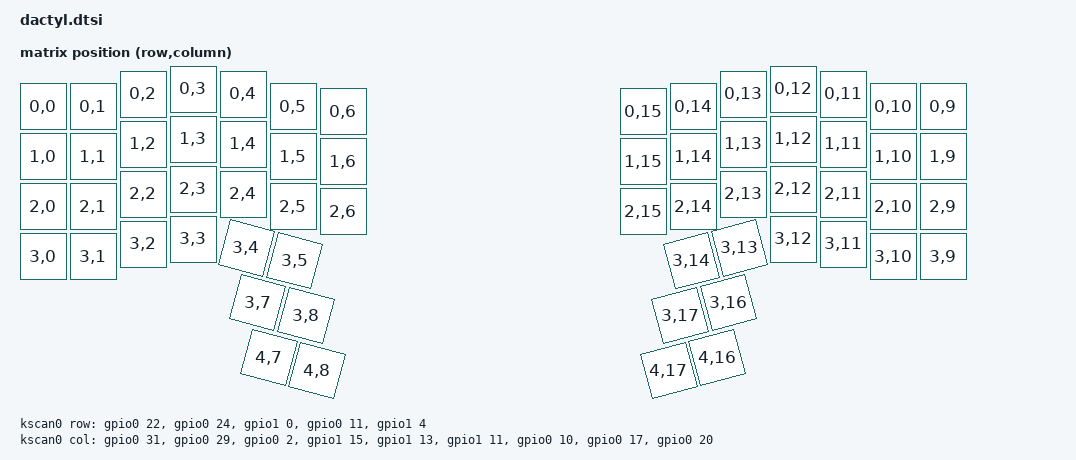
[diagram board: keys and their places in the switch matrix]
#include <dt-bindings/zmk/matrix_transform.h>
#include <physical_layouts.dtsi>
#include <dt-bindings/zmk/mouse.h>


/ {
    chosen {
        zmk,kscan = &kscan0;
        zmk,physical-layout = &dactyl_layout;
    };

    kscan0: kscan {
        compatible = "zmk,kscan-gpio-matrix";
        label = "KSCAN";
        diode-direction = "row2col";

	col-gpios
	= 
	  <&gpio0 31 (GPIO_PULL_DOWN | GPIO_ACTIVE_HIGH)>
	, <&gpio0 29 (GPIO_PULL_DOWN | GPIO_ACTIVE_HIGH)>
	, <&gpio0 2 (GPIO_PULL_DOWN | GPIO_ACTIVE_HIGH)>
	, <&gpio1 15 (GPIO_PULL_DOWN | GPIO_ACTIVE_HIGH)>
	, <&gpio1 13 (GPIO_PULL_DOWN | GPIO_ACTIVE_HIGH)>
	, <&gpio1 11 (GPIO_PULL_DOWN | GPIO_ACTIVE_HIGH)>
	, <&gpio0 10 (GPIO_PULL_DOWN | GPIO_ACTIVE_HIGH)>
	, <&gpio0 17 (GPIO_PULL_DOWN | GPIO_ACTIVE_HIGH)>
	, <&gpio0 20 (GPIO_PULL_DOWN | GPIO_ACTIVE_HIGH)>
    ;

    row-gpios
	= <&gpio0 22 GPIO_ACTIVE_HIGH>
	, <&gpio0 24 GPIO_ACTIVE_HIGH>
	, <&gpio1 0 GPIO_ACTIVE_HIGH>
	, <&gpio0 11 GPIO_ACTIVE_HIGH>
	, <&gpio1 4 GPIO_ACTIVE_HIGH>
    ;
    };

    default_transform: keymap_transform_0 {
        compatible = "zmk,matrix-transform";
        columns = <18>;
        rows = <5>;

        map = <
RC(0,0) RC(0,1) RC(0,2) RC(0,3) RC(0,4) RC(0,5) RC(0,6)     RC(0,15) RC(0,14) RC(0,13) RC(0,12) RC(0,11) RC(0,10) RC(0,9)
RC(1,0) RC(1,1) RC(1,2) RC(1,3) RC(1,4) RC(1,5) RC(1,6)     RC(1,15) RC(1,14) RC(1,13) RC(1,12) RC(1,11) RC(1,10) RC(1,9)
RC(2,0) RC(2,1) RC(2,2) RC(2,3) RC(2,4) RC(2,5) RC(2,6)     RC(2,15) RC(2,14) RC(2,13) RC(2,12) RC(2,11) RC(2,10) RC(2,9)
RC(3,0) RC(3,1) RC(3,2) RC(3,3)                                                        RC(3,12) RC(3,11) RC(3,10) RC(3,9)
                                RC(3,4) RC(3,5)                      RC(3,14) RC(3,13)
                                        RC(3,7) RC(3,8)     RC(3,17) RC(3,16)
                                        RC(4,7) RC(4,8)     RC(4,17) RC(4,16)
        >;
    };

    dactyl_layout: dactyl_layout {
        compatible = "zmk,physical-layout";
        display-name = "Dactyl Mini Plus";
        transform = <&default_transform>;
        kscan = <&kscan0>;

        // Positions are in centi-keyunits (100 = 1u), in the same order as
        // default_transform's map: 3 full finger rows (col 6 is the extra
        // key next to T/G/B), a 4-key bottom finger row, and a 6-key thumb
        // cluster per half as three pairs.
        keys
            // row 0
            = <&key_physical_attrs 100 100     0    35       0     0     0>
            , <&key_physical_attrs 100 100   100    35       0     0     0>
            , <&key_physical_attrs 100 100   200    10       0     0     0>
            , <&key_physical_attrs 100 100   300     0       0     0     0>
            , <&key_physical_attrs 100 100   400    10       0     0     0>
            , <&key_physical_attrs 100 100   500    35       0     0     0>
            , <&key_physical_attrs 100 100   600    45       0     0     0>
            , <&key_physical_attrs 100 100  1200    45       0     0     0>
            , <&key_physical_attrs 100 100  1300    35       0     0     0>
            , <&key_physical_attrs 100 100  1400    10       0     0     0>
            , <&key_physical_attrs 100 100  1500     0       0     0     0>
            , <&key_physical_attrs 100 100  1600    10       0     0     0>
            , <&key_physical_attrs 100 100  1700    35       0     0     0>
            , <&key_physical_attrs 100 100  1800    35       0     0     0>

            // row 1
            , <&key_physical_attrs 100 100     0   135       0     0     0>
            , <&key_physical_attrs 100 100   100   135       0     0     0>
            , <&key_physical_attrs 100 100   200   110       0     0     0>
            , <&key_physical_attrs 100 100   300   100       0     0     0>
            , <&key_physical_attrs 100 100   400   110       0     0     0>
            , <&key_physical_attrs 100 100   500   135       0     0     0>
            , <&key_physical_attrs 100 100   600   145       0     0     0>
            , <&key_physical_attrs 100 100  1200   145       0     0     0>
            , <&key_physical_attrs 100 100  1300   135       0     0     0>
            , <&key_physical_attrs 100 100  1400   110       0     0     0>
            , <&key_physical_attrs 100 100  1500   100       0     0     0>
            , <&key_physical_attrs 100 100  1600   110       0     0     0>
            , <&key_physical_attrs 100 100  1700   135       0     0     0>
            , <&key_physical_attrs 100 100  1800   135       0     0     0>

            // row 2
            , <&key_physical_attrs 100 100     0   235       0     0     0>
            , <&key_physical_attrs 100 100   100   235       0     0     0>
            , <&key_physical_attrs 100 100   200   210       0     0     0>
            , <&key_physical_attrs 100 100   300   200       0     0     0>
            , <&key_physical_attrs 100 100   400   210       0     0     0>
            , <&key_physical_attrs 100 100   500   235       0     0     0>
            , <&key_physical_attrs 100 100   600   245       0     0     0>
            , <&key_physical_attrs 100 100  1200   245       0     0     0>
            , <&key_physical_attrs 100 100  1300   235       0     0     0>
            , <&key_physical_attrs 100 100  1400   210       0     0     0>
            , <&key_physical_attrs 100 100  1500   200       0     0     0>
            , <&key_physical_attrs 100 100  1600   210       0     0     0>
            , <&key_physical_attrs 100 100  1700   235       0     0     0>
            , <&key_physical_attrs 100 100  1800   235       0     0     0>

            // row 3 (fingers)
            , <&key_physical_attrs 100 100     0   335       0     0     0>
            , <&key_physical_attrs 100 100   100   335       0     0     0>
            , <&key_physical_attrs 100 100   200   310       0     0     0>
            , <&key_physical_attrs 100 100   300   300       0     0     0>
            , <&key_physical_attrs 100 100  1500   300       0     0     0>
            , <&key_physical_attrs 100 100  1600   310       0     0     0>
            , <&key_physical_attrs 100 100  1700   335       0     0     0>
            , <&key_physical_attrs 100 100  1800   335       0     0     0>

            // thumb cluster: upper pair
            , <&key_physical_attrs 100 100   400   330    1500   500   400>
            , <&key_physical_attrs 100 100   500   330    1500   500   400>
            , <&key_physical_attrs 100 100  1300   330 (-1500)  1400   400>
            , <&key_physical_attrs 100 100  1400   330 (-1500)  1400   400>

            // thumb cluster: middle pair
            , <&key_physical_attrs 100 100   450   430    1500   500   400>
            , <&key_physical_attrs 100 100   550   430    1500   500   400>
            , <&key_physical_attrs 100 100  1250   430 (-1500)  1400   400>
            , <&key_physical_attrs 100 100  1350   430 (-1500)  1400   400>

            // thumb cluster: lower pair
            , <&key_physical_attrs 100 100   500   530    1500   500   400>
            , <&key_physical_attrs 100 100   600   530    1500   500   400>
            , <&key_physical_attrs 100 100  1200   530 (-1500)  1400   400>
            , <&key_physical_attrs 100 100  1300   530 (-1500)  1400   400>
            ;
    };

};
